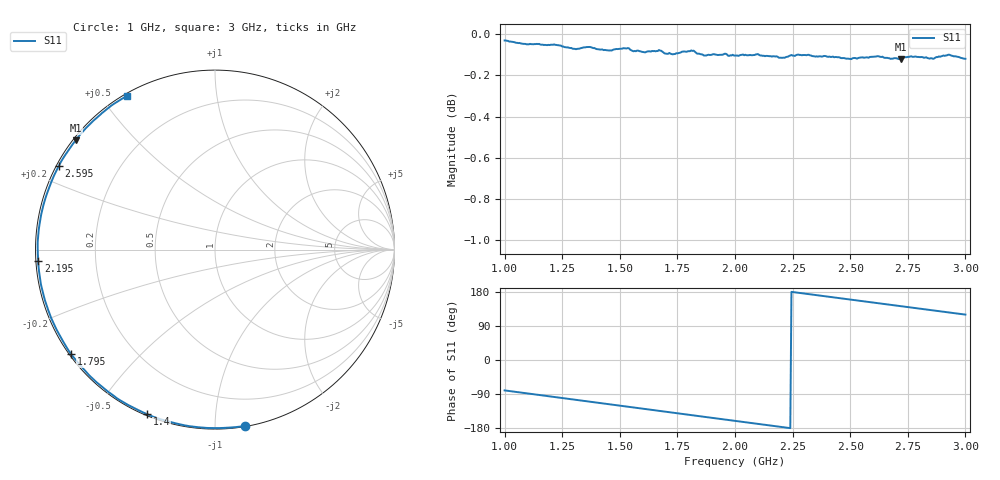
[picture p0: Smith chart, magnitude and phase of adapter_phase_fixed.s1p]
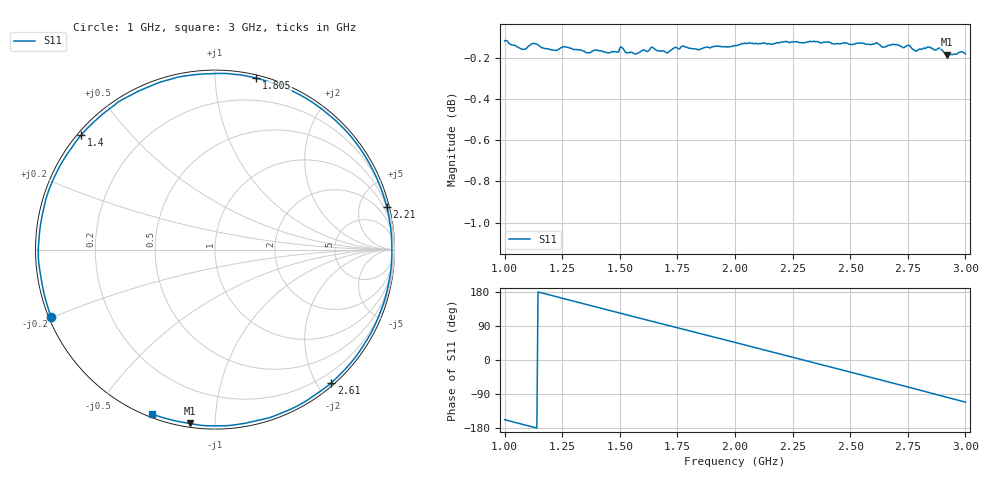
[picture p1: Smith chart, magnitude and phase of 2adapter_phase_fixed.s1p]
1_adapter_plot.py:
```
import skrf as rf
import matplotlib.pyplot as plt
import numpy as np

path1 = "adapter_phase_fixed.s1p"
path2 = "2adapter_phase_fixed.s1p"
path3 = "3adapter_phase_fixed.s1p"
path4 = "ref_cable_only_phase.s1p"


def plot_1_adapter():
    
    ntwk = rf.Network(path1)  
    freq = ntwk.f            
    phase = ntwk.s_deg[:,0,0] 
    f_target = 2.4e9
    idx = np.argmin(np.abs(freq - f_target))
    plt.plot(freq, phase)

    plt.plot(freq[idx], phase[idx], 'ko')  # red dot

    # Add text in the format (freq, phase)
    # Format frequency to 2 decimal GHz, phase to 1 decimal deg
    label_text = f"({freq[idx]/1e9:.2f} GHz, {phase[idx]:.1f}°)"
    plt.annotate(label_text,
                xy=(freq[idx], phase[idx]),
                xytext=(5, 0),          # offset text slightly
                textcoords='offset points',
                color='black',
                fontsize=10,
                )



    plt.xlabel("Frequency (Hz)")
    plt.ylabel("Phase (deg)")
    plt.title("S11 Phase single adapter")
    plt.savefig("S11_Phase_single adapter.png", dpi=300, bbox_inches='tight')
    plt.show()
    
def plot_2_adapter():
    ntwk = rf.Network(path2)  
    freq = ntwk.f            
    phase = ntwk.s_deg[:,0,0] 
    f_target = 2.4e9
    idx = np.argmin(np.abs(freq - f_target))
    plt.plot(freq, phase)

    plt.plot(freq[idx], phase[idx], 'ko')  # red dot

    # Add text in the format (freq, phase)
    # Format frequency to 2 decimal GHz, phase to 1 decimal deg
    label_text = f"({freq[idx]/1e9:.2f} GHz, {phase[idx]:.1f}°)"
    plt.annotate(label_text,
                xy=(freq[idx], phase[idx]),
                xytext=(5, 0),          # offset text slightly
                textcoords='offset points',
                color='black',
                fontsize=10,
                )



    plt.xlabel("Frequency (Hz)")
    plt.ylabel("Phase (deg)")
    plt.title("S11 Phase double adapter")
    plt.savefig("S11_Phase_double_adapter.png", dpi=300, bbox_inches='tight')
    plt.show()

def plot_3_adapter():
    ntwk = rf.Network(path3)  
    freq = ntwk.f            
    phase = ntwk.s_deg[:,0,0] 
    f_target = 2.4e9
    idx = np.argmin(np.abs(freq - f_target))
    plt.plot(freq, phase)

    plt.plot(freq[idx], phase[idx], 'ko')  # red dot

    # Add text in the format (freq, phase)
    # Format frequency to 2 decimal GHz, phase to 1 decimal deg
    label_text = f"({freq[idx]/1e9:.2f} GHz, {phase[idx]:.1f}°)"
    plt.annotate(label_text,
                xy=(freq[idx], phase[idx]),
                xytext=(5, 0),          # offset text slightly
                textcoords='offset points',
                color='black',
                fontsize=10,
                )



    plt.xlabel("Frequency (Hz)")
    plt.ylabel("Phase (deg)")
    plt.title("S11 Phase triple adapter")
    plt.savefig("S11_Phase_triple_adapter.png", dpi=300, bbox_inches='tight')

    plt.show()

    
def plot_wire_only():
    ntwk = rf.Network(path4)  
    freq = ntwk.f            
    phase = ntwk.s_deg[:,0,0] 
    f_target = 2.4e9
    idx = np.argmin(np.abs(freq - f_target))
    plt.plot(freq, phase)

    plt.plot(freq[idx], phase[idx], 'ko')  # red dot

    # Add text in the format (freq, phase)
    # Format frequency to 2 decimal GHz, phase to 1 decimal deg
    label_text = f"({freq[idx]/1e9:.2f} GHz, {phase[idx]:.1f}°)"
    plt.annotate(label_text,
                xy=(freq[idx], phase[idx]),
                xytext=(5, 0),          # offset text slightly
                textcoords='offset points',
                color='black',
                fontsize=10,
                )



    plt.xlabel("Frequency (Hz)")
    plt.ylabel("Phase (deg)")
    plt.title("S11 Phase wire only")
    plt.savefig("S11_Phase_wire_only.png", dpi=300, bbox_inches='tight')

    plt.show()



plot_1_adapter()
plot_2_adapter()
plot_3_adapter()
plot_wire_only()
```
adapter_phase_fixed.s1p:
!  02.03.2026  10:50:04
! Ref Plane: 0.000 mm
# MHZ S MA R  50
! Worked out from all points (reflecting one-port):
!   401 points, 1 GHz to 3 GHz, reference 50 ohm
!   lowest |S11| = -0.1 dB at 2.72 GHz (marker M1), VSWR 142.37, Z = 0.393 + j17.3 ohm
!   phase of S11 starts at -80 deg and turns -160 deg over the sweep
!   S11 on the Smith chart (normalised r, x): 1 GHz: 0.00, -1.19; 1.4 GHz: 0.01, -0.67; 1.795 GHz: 0.01, -0.32; 2.195 GHz: 0.01, -0.03; 2.595 GHz: 0.01, +0.25; 3 GHz: 0.01, +0.58
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1000  0.9966 -80.2
1210  0.9941 -97.1
1400  0.9917 -112.3
1530  0.9921 -122.7
1670  0.9912 -134.1
1795  0.9906 -144.2
2000  0.9882 -160.6
2195  0.9869 -176.2
2335  0.9879 172.7
2460  0.9868 162.7
2595  0.9875 151.9
2720  0.986 141.9
2890  0.9875 128.4
3000  0.9864 119.8
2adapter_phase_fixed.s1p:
!  02.03.2026  10:52:13
! Ref Plane: 0.000 mm
# MHZ S MA R  50
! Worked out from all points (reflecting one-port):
!   401 points, 1 GHz to 3 GHz, reference 50 ohm
!   lowest |S11| = -0.2 dB at 2.92 GHz (marker M1), VSWR 94.28, Z = 0.926 - j43.2 ohm
!   phase of S11 starts at -158 deg and turns -314 deg over the sweep
!   S11 on the Smith chart (normalised r, x): 1 GHz: 0.01, -0.20; 1.4 GHz: 0.01, +0.37; 1.805 GHz: 0.02, +1.27; 2.21 GHz: 0.49, +8.24; 2.61 GHz: 0.04, -2.20; 3 GHz: 0.02, -0.68
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1000  0.9866 -157.5
1195  0.9819 171.7
1400  0.9814 139.5
1545  0.9803 116.9
1670  0.981 97.5
1805  0.9825 76.6
1990  0.9837 47.9
2210  0.986 13.8
2335  0.9862 -5.7
2470  0.9853 -26.8
2610  0.9851 -48.9
2760  0.9836 -72.8
2920  0.979 -98.3
3000  0.9795 -111.2
